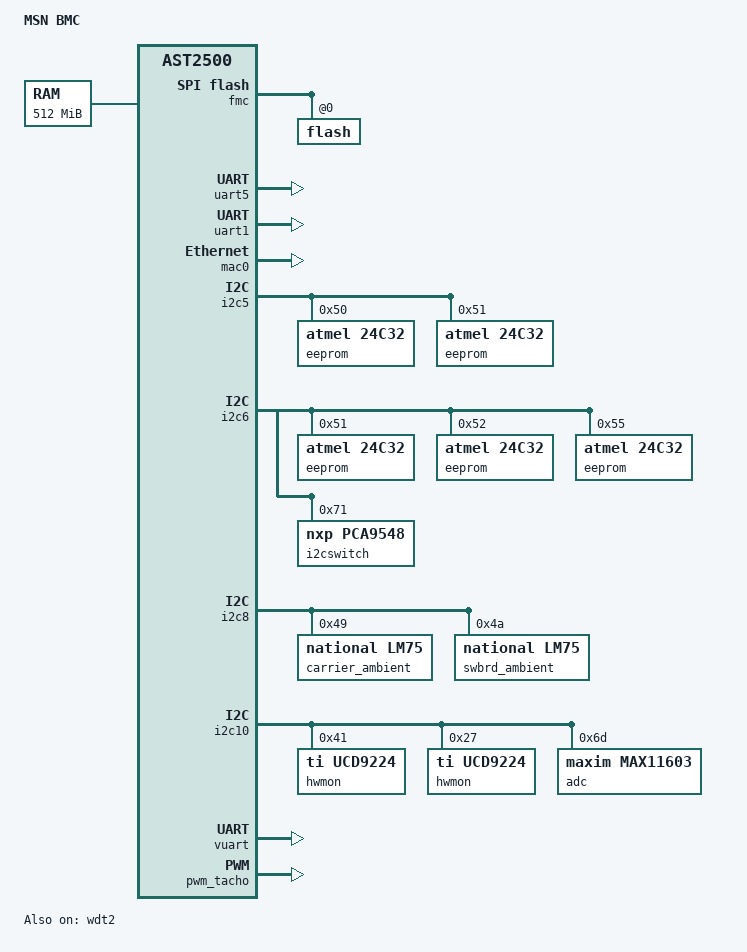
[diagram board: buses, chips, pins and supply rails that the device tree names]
/dts-v1/;

#include <dt-bindings/gpio/aspeed-gpio.h>
#include "aspeed-g5.dtsi"

/ {
	model = "MSN BMC";
	compatible = "mellanox,msn-bmc", "aspeed,ast2500";

	chosen {
		stdout-path = &uart5;
		bootargs = "console=ttyS4,115200n8 earlyprintk";
	};

	memory {
		/* 512MiB SDRAM DDR4 @ 0x8000_0000 */
		reg = <0x80000000 0x20000000>;
	};

};

&fmc {
	status = "okay";
	flash@0 {
		status = "okay";
		m25p,fast-read;
#include "openbmc-flash-layout.dtsi"
	};
};

&uart5 {
	status = "okay";
};

&uart1 {
	status = "okay";
	pinctrl-names = "default";
	pinctrl-0 = <&pinctrl_txd1_default
		     &pinctrl_rxd1_default
		     &pinctrl_nrts1_default
		     &pinctrl_ndtr1_default
		     &pinctrl_ndsr1_default
		     &pinctrl_ncts1_default
		     &pinctrl_ndcd1_default
		     &pinctrl_nri1_default>;
};

&mac0 {
	status = "okay";
	use-ncsi;

	pinctrl-names = "default";
	pinctrl-0 = <&pinctrl_rmii1_default>;
};

&i2c5 {
	status = "okay";

	eeprom@50 {
		compatible = "atmel,24c32";
		reg = <0x50>;
	};

	eeprom@51 {
		compatible = "atmel,24c32";
		reg = <0x51>;
	};
};

&i2c6 {
	status = "okay";

	eeprom@51 {
		compatible = "atmel,24c32";
		reg = <0x51>;
	};

	eeprom@52 {
		compatible = "atmel,24c32";
		reg = <0x52>;
	};

	eeprom@55 {
		compatible = "atmel,24c32";
		reg = <0x55>;
	};

	i2cswitch@71 {
		compatible = "nxp,pca9548";
		#address-cells = <1>;
		#size-cells = <0>;
		reg = <0x71>;
	};
};

&i2c8 {
	status = "okay";

	carrier_ambient: lm75@49 {
		#thermal-sensor-cells = <0>;
		compatible = "national,lm75";
		reg = <0x49>;
	};

	swbrd_ambient: lm75@4a {
		#thermal-sensor-cells = <0>;
		compatible = "national,lm75";
		reg = <0x4a>;
	};
};

&i2c10 {
	status = "okay";

	hwmon@41 {
		compatible = "ti,ucd9224";
		reg = <0x41>;
	};

	hwmon@27 {
		compatible = "ti,ucd9224";
		reg = <0x27>;
	};

	adc@6d {
		compatible = "maxim,max11603";
		reg = <0x6d>;
		adc0: iio-device@0 {
			#io-channel-cells = <1>;
			io-channels = <&adc0 0>, <&adc0 1>, <&adc0 2>,
				      <&adc0 3>, <&adc0 4>, <&adc0 5>,
				      <&adc0 6>, <&adc0 7>;
		};
	};
};

&vuart {
	status = "okay";
};

&wdt2 {
	status = "okay";
};

&pwm_tacho {
	status = "okay";
	pinctrl-names = "default";
	pinctrl-0 = <&pinctrl_pwm0_default>;
	#cooling-cells = <2>;

	cooling: fan@0 {
		reg = <0x00>;
		cooling-levels = /bits/ 8 <125 151 177 203 229 255>;
		aspeed,fan-tach-ch = /bits/ 8 <0x00>;
	};

	fan@1 {
		reg = <0x00>;
		aspeed,fan-tach-ch = /bits/ 8 <0x01>;
	};

	fan@2 {
		reg = <0x00>;
		aspeed,fan-tach-ch = /bits/ 8 <0x02>;
	};

	fan@3 {
		reg = <0x00>;
		aspeed,fan-tach-ch = /bits/ 8 <0x03>;
	};

	fan@4 {
		reg = <0x00>;
		aspeed,fan-tach-ch = /bits/ 8 <0x04>;
	};

	fan@5 {
		reg = <0x00>;
		aspeed,fan-tach-ch = /bits/ 8 <0x05>;
	};

	fan@6 {
		reg = <0x00>;
		aspeed,fan-tach-ch = /bits/ 8 <0x06>;
	};

	fan@7 {
		reg = <0x00>;
		aspeed,fan-tach-ch = /bits/ 8 <0x07>;
	};
};
